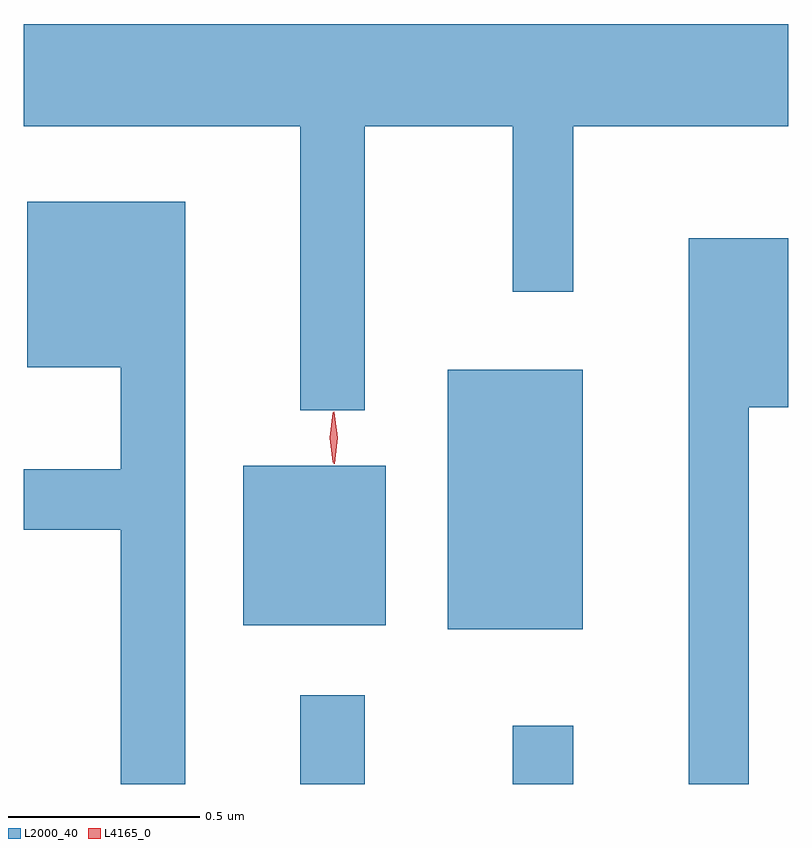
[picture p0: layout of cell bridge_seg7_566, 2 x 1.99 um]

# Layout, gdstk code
import gdstk
lib = gdstk.Library(unit=1e-6, precision=1e-09)
def R(c, l, rs):  # rectangles x0, y0, x1, y1
    for r in rs: c.add(gdstk.rectangle(r[:2], r[2:], *l))
def P(c, l, *ps):  # polygons
    for p in ps: c.add(gdstk.Polygon(p, *l))
L2000_40 = (2000, 40)
L4165_0 = (4165, 0)

bridge_seg7_566 = lib.new_cell('bridge_seg7_566')
R(bridge_seg7_566, L2000_40, [(892.371,1752.556,892.539,1752.788), (892.926,1752.556,893.084,1752.708), (892.756,1752.961,893.109,1753.639), (892.221,1752.971,892.594,1753.389)])
P(bridge_seg7_566, L2000_40, [(892.539,1754.276),(892.926,1754.276),(892.926,1753.843),(893.084,1753.843),(893.084,1754.276),(893.647,1754.276),(893.647,1754.544),(891.647,1754.544),(891.647,1754.276),(892.371,1754.276),(892.371,1753.533),(892.539,1753.533)],
  [(892.069,1754.079),(891.656,1754.079),(891.656,1753.646),(891.901,1753.646),(891.901,1753.379),(891.647,1753.379),(891.647,1753.221),(891.901,1753.221),(891.901,1752.556),(892.069,1752.556)],
  [(893.544,1753.541),(893.647,1753.541),(893.647,1753.984),(893.386,1753.984),(893.386,1752.556),(893.544,1752.556)])
P(bridge_seg7_566, L4165_0, [(892.458,1753.394),(892.449,1753.462),(892.458,1753.53),(892.458,1753.53),(892.459,1753.53),(892.468,1753.462),(892.46,1753.394),(892.459,1753.394)],
  [(892.456,1753.398),(892.447,1753.462),(892.456,1753.527),(892.457,1753.527),(892.457,1753.527),(892.467,1753.462),(892.457,1753.398),(892.457,1753.398)])

lib.write_gds('bridge_seg7_566.gds')
